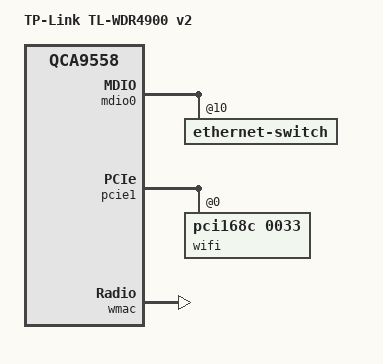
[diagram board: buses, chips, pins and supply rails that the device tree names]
// SPDX-License-Identifier: GPL-2.0-or-later OR MIT

#include "qca9558_tplink_archer-c.dtsi"

/ {
	compatible = "tplink,tl-wdr4900-v2", "qca,qca9558";
	model = "TP-Link TL-WDR4900 v2";

	aliases {
		label-mac-device = &eth1;
	};
};

&leds {
	system {
		color = <LED_COLOR_ID_BLUE>;
	};

	qss {
		color = <LED_COLOR_ID_BLUE>;
	};
};

&mdio0 {
	ethernet-switch@10 {
		leds {
			led@0 {
				color = <LED_COLOR_ID_BLUE>;
			};

			led@3 {
				color = <LED_COLOR_ID_BLUE>;
			};

			led@6 {
				color = <LED_COLOR_ID_BLUE>;
			};

			led@9 {
				color = <LED_COLOR_ID_BLUE>;
			};

			led@12 {
				color = <LED_COLOR_ID_BLUE>;
			};
		};
	};
};

&mtdparts {
	uboot: partition@0 {
		label = "u-boot";
		reg = <0x000000 0x020000>;
		read-only;

		nvmem-layout {
			compatible = "fixed-layout";
			#address-cells = <1>;
			#size-cells = <1>;

			macaddr_uboot_1fc00: macaddr@1fc00 {
				compatible = "mac-base";
				reg = <0x1fc00 0x6>;
				#nvmem-cell-cells = <1>;
			};
		};
	};

	partition@20000 {
		label = "firmware";
		compatible = "tplink,firmware";
		reg = <0x020000 0x7d0000>;
	};

	partition@7f0000 {
		label = "art";
		reg = <0x7f0000 0x010000>;
		read-only;

		nvmem-layout {
			compatible = "fixed-layout";
			#address-cells = <1>;
			#size-cells = <1>;

			cal_ath9k_soc: cal_ath9k@1000 {
				reg = <0x1000 0x440>;
			};

			cal_ath9k_pci: cal_ath9k@5000 {
				reg = <0x5000 0x440>;
			};
		};
	};
};

&eth0 {
	nvmem-cells = <&macaddr_uboot_1fc00 1>;
	nvmem-cell-names = "mac-address";
};

&eth1 {
	nvmem-cells = <&macaddr_uboot_1fc00 0>;
	nvmem-cell-names = "mac-address";
};

&pcie1 {
	status = "okay";

	wifi@0,0 {
		compatible = "pci168c,0033";
		reg = <0x0000 0 0 0 0>;
		nvmem-cells = <&macaddr_uboot_1fc00 (-2)>, <&cal_ath9k_pci>;
		nvmem-cell-names = "mac-address", "calibration";

		led {
			led-sources = <0>;
			led-active-low;
		};
	};
};

&wmac {
	nvmem-cells = <&macaddr_uboot_1fc00 (-1)>, <&cal_ath9k_soc>;
	nvmem-cell-names = "mac-address", "calibration";
};
